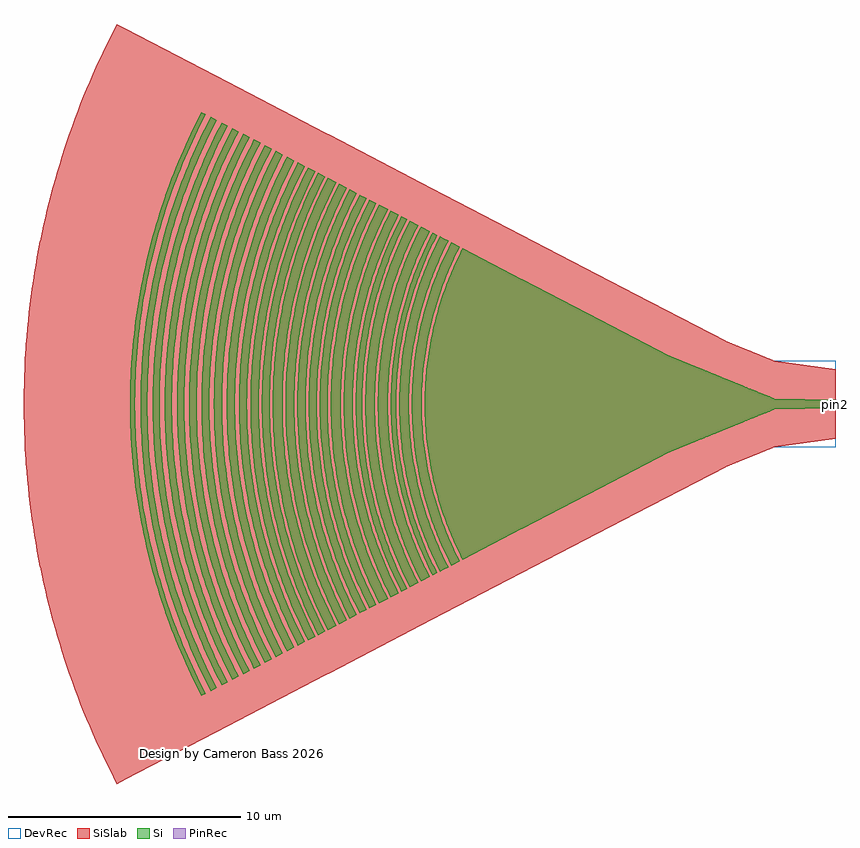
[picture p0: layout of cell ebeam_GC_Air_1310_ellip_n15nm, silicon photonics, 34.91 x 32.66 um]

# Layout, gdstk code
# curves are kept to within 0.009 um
import gdstk
lib = gdstk.Library(unit=1e-6, precision=1e-09)
def P(c, l, *ps):  # polygons
    for p in ps: c.add(gdstk.Polygon(p, *l))
Si = (1, 0)
PinRec = (1, 10)
SiSlab = (2, 0)
DevRec = (68, 0)

ebeam_gc_air_1310_ellip_ = lib.new_cell('ebeam_GC_Air_1310_ellip_n15nm')
P(ebeam_gc_air_1310_ellip_, Si, [(-16.042,-6.696),(-16.453,-5.834),(-16.77,-5.048),(-17.081,-4.11),(-17.263,-3.427),(-17.439,-2.598),(-17.566,-1.761),(-17.644,-0.917),(-17.672,-0.071),(-17.652,0.776),(-17.582,1.621),(-17.463,2.46),(-17.296,3.29),(-17.081,4.11),(-16.77,5.048),(-16.453,5.834),(-16.042,6.696),(-7.144,2.063),(-3.191,0.45),(-2.883,0.336),(-2.697,0.248),(-2.651,0.235),(0,0.175),(0,-0.175),(-2.664,-0.237),(-7.129,-2.056)],
  [(-16.534,-6.951),(-16.899,-6.193),(-17.236,-5.38),(-17.525,-4.548),(-17.764,-3.702),(-17.955,-2.843),(-18.095,-1.974),(-18.194,-0.953),(-18.224,-0.073),(-18.203,0.806),(-18.113,1.829),(-17.982,2.699),(-17.799,3.56),(-17.568,4.409),(-17.236,5.38),(-16.899,6.193),(-16.534,6.952),(-16.157,6.756),(-16.515,6.016),(-16.892,5.093),(-17.164,4.283),(-17.39,3.459),(-17.567,2.623),(-17.695,1.777),(-17.782,0.784),(-17.802,0.071),(-17.782,-0.784),(-17.695,-1.777),(-17.567,-2.622),(-17.39,-3.458),(-17.164,-4.283),(-16.892,-5.093),(-16.515,-6.016),(-16.157,-6.756)],
  [(-17.015,-7.202),(-17.393,-6.417),(-17.742,-5.575),(-18.041,-4.713),(-18.289,-3.836),(-18.486,-2.946),(-18.631,-2.046),(-18.724,-1.139),(-18.751,-0.683),(-18.765,-0.076),(-18.743,0.835),(-18.668,1.744),(-18.611,2.197),(-18.514,2.796),(-18.325,3.689),(-18.172,4.277),(-18.041,4.714),(-17.742,5.575),(-17.393,6.417),(-17.015,7.202),(-16.648,7.012),(-17.078,6.111),(-17.409,5.288),(-17.692,4.446),(-17.927,3.591),(-18.11,2.723),(-18.243,1.845),(-18.324,0.961),(-18.354,0.074),(-18.333,-0.813),(-18.243,-1.845),(-18.11,-2.723),(-17.927,-3.591),(-17.692,-4.446),(-17.409,-5.288),(-17.078,-6.111),(-16.648,-7.012)],
  [(-17.335,-7.369),(-17.722,-6.565),(-18.079,-5.704),(-18.385,-4.822),(-18.639,-3.925),(-18.841,-3.014),(-18.922,-2.555),(-19.009,-1.939),(-19.095,-1.01),(-19.126,-0.078),(-19.104,0.855),(-19.009,1.939),(-18.869,2.861),(-18.676,3.775),(-18.431,4.674),(-18.134,5.558),(-17.966,5.993),(-17.722,6.566),(-17.335,7.369),(-17.13,7.262),(-17.574,6.33),(-17.969,5.334),(-18.118,4.899),(-18.296,4.312),(-18.522,3.421),(-18.694,2.518),(-18.814,1.607),(-18.873,0.843),(-18.895,0.077),(-18.873,-0.843),(-18.814,-1.607),(-18.718,-2.366),(-18.554,-3.271),(-18.416,-3.868),(-18.296,-4.312),(-18.118,-4.899),(-17.969,-5.333),(-17.574,-6.33),(-17.13,-7.262)],
  [(-17.831,-7.627),(-18.296,-6.648),(-18.657,-5.753),(-18.965,-4.838),(-19.218,-3.906),(-19.418,-2.961),(-19.562,-2.007),(-19.651,-1.045),(-19.684,-0.08),(-19.66,0.885),(-19.581,1.847),(-19.446,2.803),(-19.325,3.436),(-19.218,3.906),(-18.965,4.838),(-18.657,5.753),(-18.483,6.203),(-18.231,6.796),(-17.831,7.627),(-17.45,7.429),(-17.643,7.046),(-17.905,6.476),(-18.2,5.75),(-18.509,4.861),(-18.766,3.958),(-18.998,2.885),(-19.138,1.955),(-19.202,1.331),(-19.234,0.862),(-19.256,0.078),(-19.234,-0.862),(-19.202,-1.331),(-19.138,-1.955),(-18.998,-2.885),(-18.803,-3.804),(-18.555,-4.712),(-18.255,-5.603),(-17.905,-6.476),(-17.643,-7.046),(-17.45,-7.429)],
  [(-18.311,-7.877),(-18.586,-7.32),(-18.792,-6.865),(-19.164,-5.941),(-19.483,-4.996),(-19.744,-4.033),(-19.95,-3.058),(-20.1,-2.072),(-20.191,-1.08),(-20.225,-0.083),(-20.201,0.914),(-20.119,1.907),(-19.979,2.894),(-19.783,3.872),(-19.664,4.356),(-19.483,4.996),(-19.164,5.941),(-18.792,6.866),(-18.586,7.32),(-18.311,7.877),(-17.947,7.688),(-18.352,6.849),(-18.544,6.403),(-18.78,5.798),(-19.09,4.876),(-19.347,3.938),(-19.548,2.985),(-19.693,2.023),(-19.783,1.054),(-19.816,0.081),(-19.792,-0.892),(-19.712,-1.862),(-19.628,-2.505),(-19.548,-2.985),(-19.347,-3.937),(-19.09,-4.875),(-18.78,-5.798),(-18.544,-6.402),(-18.352,-6.849),(-17.947,-7.688)],
  [(-18.673,-8.065),(-19.097,-7.184),(-19.488,-6.241),(-19.662,-5.761),(-19.873,-5.115),(-20.141,-4.129),(-20.352,-3.131),(-20.505,-2.121),(-20.599,-1.105),(-20.633,-0.085),(-20.609,0.935),(-20.525,1.953),(-20.382,2.963),(-20.254,3.632),(-20.141,4.129),(-20.015,4.624),(-19.823,5.277),(-19.488,6.241),(-19.097,7.184),(-18.673,8.065),(-18.426,7.938),(-18.705,7.375),(-18.912,6.918),(-19.168,6.299),(-19.344,5.829),(-19.507,5.354),(-19.701,4.713),(-19.832,4.228),(-19.983,3.575),(-20.162,2.586),(-20.267,1.756),(-20.332,0.921),(-20.356,0.084),(-20.332,-0.921),(-20.267,-1.756),(-20.162,-2.586),(-20.017,-3.411),(-19.911,-3.901),(-19.746,-4.551),(-19.558,-5.193),(-19.4,-5.671),(-18.979,-6.764),(-18.705,-7.375),(-18.426,-7.937)],
  [(-19.131,-8.304),(-19.568,-7.397),(-19.843,-6.751),(-20.032,-6.262),(-20.367,-5.266),(-20.643,-4.251),(-20.86,-3.223),(-21.018,-2.184),(-21.114,-1.138),(-21.15,-0.088),(-21.14,0.613),(-21.114,1.138),(-21.018,2.184),(-20.86,3.223),(-20.643,4.252),(-20.367,5.266),(-20.032,6.262),(-19.639,7.237),(-19.422,7.715),(-19.131,8.304),(-18.789,8.126),(-19.218,7.238),(-19.486,6.607),(-19.67,6.127),(-19.998,5.152),(-20.27,4.161),(-20.482,3.155),(-20.636,2.138),(-20.73,1.114),(-20.765,0.086),(-20.74,-0.943),(-20.656,-1.968),(-20.512,-2.986),(-20.418,-3.491),(-20.27,-4.161),(-19.998,-5.152),(-19.67,-6.127),(-19.287,-7.081),(-19.075,-7.549),(-18.789,-8.126)],
  [(-19.63,-8.564),(-20.079,-7.63),(-20.494,-6.629),(-20.849,-5.604),(-21.144,-4.561),(-21.378,-3.503),(-21.551,-2.433),(-21.661,-1.354),(-21.692,-0.813),(-21.71,-0.09),(-21.684,0.993),(-21.594,2.074),(-21.443,3.147),(-21.307,3.857),(-21.187,4.387),(-20.903,5.432),(-20.679,6.119),(-20.494,6.629),(-20.079,7.63),(-19.63,8.564),(-19.247,8.365),(-19.541,7.771),(-19.76,7.289),(-20.093,6.472),(-20.386,5.641),(-20.542,5.135),(-20.729,4.454),(-20.957,3.421),(-21.126,2.376),(-21.187,1.85),(-21.245,1.146),(-21.281,0.088),(-21.276,-0.441),(-21.245,-1.146),(-21.148,-2.2),(-20.99,-3.247),(-20.771,-4.282),(-20.492,-5.303),(-20.33,-5.808),(-20.093,-6.472),(-19.76,-7.289),(-19.465,-7.93),(-19.247,-8.365)],
  [(-20.045,-8.78),(-20.352,-8.157),(-20.582,-7.65),(-20.997,-6.62),(-21.351,-5.567),(-21.643,-4.495),(-21.873,-3.408),(-22.039,-2.309),(-22.141,-1.203),(-22.179,-0.093),(-22.152,1.018),(-22.061,2.125),(-21.991,2.677),(-21.873,3.408),(-21.643,4.496),(-21.351,5.567),(-20.997,6.62),(-20.582,7.651),(-20.352,8.157),(-20.045,8.78),(-19.749,8.626),(-20.051,8.014),(-20.277,7.518),(-20.488,7.015),(-20.746,6.334),(-20.978,5.644),(-21.134,5.121),(-21.276,4.594),(-21.44,3.885),(-21.606,2.99),(-21.729,2.089),(-21.819,1.001),(-21.845,0.091),(-21.835,-0.637),(-21.766,-1.726),(-21.661,-2.63),(-21.477,-3.706),(-21.361,-4.239),(-21.183,-4.946),(-20.978,-5.643),(-20.746,-6.334),(-20.488,-7.014),(-20.277,-7.517),(-19.973,-8.179),(-19.749,-8.626)],
  [(-20.465,-8.999),(-20.94,-8.013),(-21.376,-6.961),(-21.749,-5.885),(-21.913,-5.34),(-22.059,-4.79),(-22.19,-4.236),(-22.34,-3.492),(-22.51,-2.366),(-22.615,-1.233),(-22.654,-0.095),(-22.626,1.043),(-22.532,2.178),(-22.373,3.305),(-22.269,3.865),(-22.104,4.607),(-21.805,5.705),(-21.632,6.246),(-21.376,6.961),(-20.94,8.013),(-20.465,8.999),(-20.161,8.841),(-20.472,8.212),(-20.777,7.532),(-20.988,7.014),(-21.246,6.314),(-21.476,5.605),(-21.681,4.888),(-21.933,3.798),(-22.094,2.879),(-22.211,1.955),(-22.283,1.025),(-22.31,0.093),(-22.292,-0.839),(-22.211,-1.955),(-22.094,-2.879),(-21.933,-3.798),(-21.681,-4.888),(-21.476,-5.605),(-21.246,-6.314),(-21.055,-6.839),(-20.777,-7.532),(-20.472,-8.212),(-20.161,-8.841)],
  [(-20.9,-9.225),(-21.388,-8.211),(-21.834,-7.134),(-22.217,-6.031),(-22.385,-5.473),(-22.535,-4.909),(-22.669,-4.341),(-22.823,-3.578),(-22.998,-2.425),(-23.105,-1.263),(-23.144,-0.097),(-23.139,0.487),(-23.105,1.263),(-22.998,2.425),(-22.823,3.579),(-22.581,4.721),(-22.437,5.285),(-22.275,5.846),(-21.903,6.952),(-21.467,8.034),(-21.225,8.565),(-20.9,9.225),(-20.585,9.061),(-20.906,8.413),(-21.218,7.716),(-21.503,7.007),(-21.699,6.469),(-21.879,5.925),(-22.094,5.192),(-22.238,4.637),(-22.403,3.891),(-22.568,2.95),(-22.688,2.003),(-22.762,1.051),(-22.79,0.096),(-22.771,-0.86),(-22.707,-1.812),(-22.596,-2.761),(-22.403,-3.891),(-22.238,-4.637),(-22.094,-5.192),(-21.879,-5.925),(-21.699,-6.469),(-21.503,-7.007),(-21.218,-7.716),(-20.906,-8.413),(-20.585,-9.061)],
  [(-21.351,-9.46),(-21.685,-8.784),(-21.932,-8.238),(-22.379,-7.129),(-22.761,-5.995),(-22.927,-5.42),(-23.075,-4.84),(-23.323,-3.67),(-23.502,-2.487),(-23.612,-1.295),(-23.652,-0.1),(-23.647,0.499),(-23.612,1.296),(-23.502,2.487),(-23.323,3.67),(-23.075,4.841),(-22.927,5.42),(-22.761,5.995),(-22.379,7.129),(-22.164,7.687),(-21.932,8.239),(-21.685,8.784),(-21.351,9.46),(-21.015,9.285),(-21.26,8.798),(-21.587,8.086),(-21.814,7.545),(-22.092,6.813),(-22.282,6.258),(-22.51,5.508),(-22.709,4.751),(-22.879,3.987),(-23.048,3.023),(-23.171,2.052),(-23.247,1.076),(-23.275,0.098),(-23.256,-0.881),(-23.19,-1.857),(-23.077,-2.829),(-22.879,-3.986),(-22.709,-4.75),(-22.51,-5.508),(-22.342,-6.07),(-22.092,-6.813),(-21.814,-7.545),(-21.587,-8.086),(-21.344,-8.62),(-21.015,-9.285)],
  [(-21.839,-9.713),(-22.18,-9.021),(-22.434,-8.461),(-22.672,-7.894),(-22.893,-7.321),(-23.098,-6.742),(-23.285,-6.157),(-23.456,-5.566),(-23.608,-4.971),(-23.744,-4.372),(-23.862,-3.769),(-23.963,-3.163),(-24.046,-2.554),(-24.159,-1.33),(-24.189,-0.716),(-24.2,-0.102),(-24.171,1.126),(-24.07,2.351),(-23.963,3.163),(-23.862,3.769),(-23.744,4.372),(-23.608,4.972),(-23.456,5.567),(-23.285,6.157),(-23.098,6.742),(-22.893,7.322),(-22.434,8.461),(-22.18,9.021),(-21.839,9.714),(-21.466,9.52),(-21.804,8.839),(-22.052,8.291),(-22.502,7.174),(-22.702,6.607),(-22.885,6.033),(-23.203,4.872),(-23.452,3.694),(-23.632,2.503),(-23.696,1.904),(-23.742,1.304),(-23.783,0.1),(-23.764,-0.903),(-23.696,-1.904),(-23.632,-2.503),(-23.55,-3.099),(-23.376,-4.088),(-23.105,-5.261),(-22.885,-6.033),(-22.637,-6.796),(-22.359,-7.549),(-22.132,-8.107),(-21.804,-8.839),(-21.466,-9.52)],
  [(-22.253,-9.929),(-22.777,-8.839),(-23.026,-8.262),(-23.258,-7.679),(-23.472,-7.089),(-23.732,-6.293),(-23.906,-5.689),(-24.062,-5.081),(-24.321,-3.852),(-24.424,-3.233),(-24.509,-2.61),(-24.576,-1.986),(-24.625,-1.36),(-24.667,-0.105),(-24.661,0.524),(-24.637,1.151),(-24.534,2.402),(-24.455,3.026),(-24.358,3.646),(-24.243,4.264),(-24.062,5.081),(-23.906,5.689),(-23.732,6.293),(-23.54,6.891),(-23.258,7.679),(-23.026,8.263),(-22.777,8.84),(-22.253,9.929),(-21.954,9.774),(-22.299,9.076),(-22.554,8.514),(-22.793,7.944),(-23.086,7.173),(-23.286,6.589),(-23.525,5.8),(-23.686,5.203),(-23.872,4.399),(-23.991,3.793),(-24.092,3.182),(-24.221,2.161),(-24.301,1.133),(-24.331,0.103),(-24.301,-1.133),(-24.221,-2.16),(-24.092,-3.182),(-23.991,-3.793),(-23.872,-4.399),(-23.686,-5.203),(-23.525,-5.799),(-23.286,-6.588),(-23.086,-7.173),(-22.793,-7.944),(-22.554,-8.513),(-22.299,-9.076),(-21.954,-9.774)],
  [(-22.687,-10.155),(-23.225,-9.038),(-23.48,-8.448),(-23.717,-7.852),(-23.936,-7.248),(-24.201,-6.435),(-24.38,-5.817),(-24.539,-5.195),(-24.681,-4.569),(-24.804,-3.939),(-24.91,-3.306),(-24.997,-2.669),(-25.065,-2.031),(-25.115,-1.39),(-25.146,-0.749),(-25.158,-0.107),(-25.152,0.536),(-25.127,1.177),(-25.084,1.818),(-25.022,2.456),(-24.941,3.094),(-24.842,3.728),(-24.681,4.569),(-24.539,5.195),(-24.38,5.817),(-24.201,6.435),(-23.792,7.652),(-23.561,8.25),(-23.312,8.843),(-23.046,9.428),(-22.687,10.155),(-22.371,9.991),(-22.725,9.276),(-22.986,8.701),(-23.23,8.119),(-23.529,7.331),(-23.798,6.533),(-23.978,5.927),(-24.143,5.317),(-24.333,4.496),(-24.525,3.461),(-24.668,2.418),(-24.759,1.368),(-24.79,0.738),(-24.802,0.105),(-24.782,-0.948),(-24.745,-1.578),(-24.69,-2.207),(-24.558,-3.252),(-24.333,-4.496),(-24.143,-5.317),(-23.978,-5.927),(-23.798,-6.533),(-23.529,-7.331),(-23.23,-8.119),(-22.986,-8.701),(-22.725,-9.276),(-22.371,-9.991)],
  [(-23.119,-10.38),(-23.396,-9.827),(-23.672,-9.233),(-23.932,-8.63),(-24.175,-8.021),(-24.399,-7.404),(-24.606,-6.781),(-24.794,-6.153),(-24.963,-5.519),(-25.114,-4.882),(-25.247,-4.239),(-25.361,-3.593),(-25.456,-2.944),(-25.532,-2.292),(-25.604,-1.42),(-25.636,-0.765),(-25.648,-0.109),(-25.642,0.547),(-25.617,1.202),(-25.572,1.857),(-25.509,2.509),(-25.426,3.161),(-25.325,3.809),(-25.205,4.454),(-25.015,5.308),(-24.852,5.943),(-24.67,6.573),(-24.47,7.198),(-24.252,7.817),(-24.015,8.428),(-23.761,9.033),(-23.49,9.63),(-23.119,10.38),(-22.819,10.225),(-23.183,9.488),(-23.536,8.703),(-23.78,8.104),(-24.006,7.499),(-24.281,6.683),(-24.466,6.063),(-24.686,5.23),(-24.829,4.599),(-25.026,3.54),(-25.119,2.901),(-25.194,2.259),(-25.277,1.185),(-25.309,0.108),(-25.288,-0.97),(-25.194,-2.258),(-25.119,-2.9),(-25.026,-3.54),(-24.829,-4.599),(-24.686,-5.23),(-24.466,-6.063),(-24.281,-6.683),(-24.006,-7.499),(-23.78,-8.104),(-23.45,-8.9),(-23.183,-9.488),(-22.819,-10.224)],
  [(-23.588,-10.625),(-23.875,-10.052),(-24.158,-9.445),(-24.424,-8.828),(-24.672,-8.205),(-24.902,-7.574),(-25.113,-6.937),(-25.306,-6.294),(-25.479,-5.646),(-25.634,-4.993),(-25.769,-4.336),(-25.921,-3.454),(-26.012,-2.789),(-26.083,-2.122),(-26.135,-1.453),(-26.168,-0.782),(-26.181,-0.112),(-26.174,0.56),(-26.148,1.23),(-26.103,1.9),(-26.038,2.567),(-25.953,3.233),(-25.849,3.897),(-25.681,4.775),(-25.532,5.43),(-25.366,6.079),(-25.179,6.724),(-24.974,7.363),(-24.751,7.996),(-24.509,8.621),(-24.249,9.24),(-23.971,9.852),(-23.588,10.625),(-23.277,10.463),(-23.558,9.904),(-23.926,9.103),(-24.182,8.494),(-24.495,7.67),(-24.709,7.045),(-24.966,6.201),(-25.138,5.563),(-25.337,4.704),(-25.539,3.62),(-25.688,2.529),(-25.751,1.871),(-25.796,1.212),(-25.828,0.11),(-25.807,-0.992),(-25.769,-1.651),(-25.711,-2.309),(-25.573,-3.403),(-25.464,-4.055),(-25.337,-4.704),(-25.138,-5.563),(-24.966,-6.201),(-24.709,-7.044),(-24.495,-7.669),(-24.182,-8.494),(-23.926,-9.103),(-23.558,-9.904),(-23.277,-10.463)],
  [(-24.071,-10.876),(-24.367,-10.285),(-24.657,-9.662),(-24.93,-9.031),(-25.184,-8.394),(-25.419,-7.749),(-25.703,-6.879),(-25.894,-6.219),(-26.064,-5.554),(-26.216,-4.885),(-26.349,-4.211),(-26.462,-3.534),(-26.555,-2.853),(-26.628,-2.171),(-26.681,-1.486),(-26.715,-0.8),(-26.728,-0.114),(-26.721,0.573),(-26.695,1.258),(-26.648,1.943),(-26.555,2.854),(-26.462,3.534),(-26.349,4.211),(-26.216,4.885),(-26.064,5.555),(-25.894,6.219),(-25.703,6.879),(-25.419,7.749),(-25.184,8.394),(-24.93,9.032),(-24.657,9.662),(-24.367,10.285),(-24.071,10.876),(-23.765,10.717),(-24.342,9.524),(-24.695,8.695),(-24.939,8.063),(-25.235,7.211),(-25.436,6.564),(-25.618,5.913),(-25.831,5.035),(-26.048,3.929),(-26.152,3.26),(-26.238,2.589),(-26.336,1.465),(-26.369,0.789),(-26.382,0.113),(-26.36,-1.015),(-26.32,-1.69),(-26.262,-2.364),(-26.12,-3.483),(-26.009,-4.151),(-25.878,-4.815),(-25.729,-5.475),(-25.498,-6.347),(-25.235,-7.211),(-25.016,-7.851),(-24.779,-8.484),(-24.433,-9.318),(-24.056,-10.138),(-23.765,-10.717)],
  [(-24.541,-11.121),(-24.846,-10.513),(-25.143,-9.876),(-25.422,-9.231),(-25.681,-8.58),(-25.922,-7.92),(-26.143,-7.254),(-26.407,-6.357),(-26.582,-5.677),(-26.737,-4.993),(-26.873,-4.304),(-26.988,-3.612),(-27.083,-2.917),(-27.158,-2.219),(-27.213,-1.519),(-27.247,-0.818),(-27.26,-0.117),(-27.247,0.818),(-27.213,1.52),(-27.158,2.22),(-27.083,2.917),(-26.988,3.612),(-26.873,4.304),(-26.737,4.993),(-26.582,5.677),(-26.407,6.357),(-26.143,7.254),(-25.922,7.92),(-25.681,8.58),(-25.422,9.232),(-25.143,9.876),(-24.846,10.513),(-24.541,11.121),(-24.246,10.968),(-24.647,10.161),(-24.934,9.531),(-25.287,8.679),(-25.53,8.03),(-25.825,7.156),(-26.023,6.493),(-26.204,5.824),(-26.412,4.925),(-26.624,3.791),(-26.78,2.648),(-26.881,1.499),(-26.914,0.808),(-26.927,0.115),(-26.921,-0.576),(-26.894,-1.269),(-26.804,-2.418),(-26.724,-3.106),(-26.624,-3.791),(-26.412,-4.925),(-26.204,-5.824),(-26.023,-6.492),(-25.825,-7.156),(-25.53,-8.03),(-25.202,-8.893),(-24.934,-9.531),(-24.647,-10.161),(-24.246,-10.968)],
  [(-25.014,-11.367),(-25.327,-10.743),(-25.631,-10.093),(-25.915,-9.434),(-26.181,-8.768),(-26.426,-8.094),(-26.652,-7.413),(-26.859,-6.726),(-27.044,-6.033),(-27.209,-5.336),(-27.355,-4.633),(-27.479,-3.928),(-27.584,-3.218),(-27.667,-2.505),(-27.73,-1.791),(-27.781,-0.836),(-27.795,-0.12),(-27.788,0.598),(-27.76,1.314),(-27.711,2.03),(-27.642,2.743),(-27.551,3.455),(-27.399,4.398),(-27.26,5.103),(-27.101,5.802),(-26.923,6.496),(-26.723,7.186),(-26.504,7.868),(-26.181,8.768),(-25.915,9.434),(-25.631,10.093),(-25.327,10.743),(-25.014,11.367),(-24.726,11.218),(-25.138,10.389),(-25.431,9.745),(-25.705,9.093),(-26.041,8.211),(-26.27,7.542),(-26.48,6.865),(-26.73,5.955),(-26.893,5.266),(-27.121,4.11),(-27.23,3.41),(-27.319,2.708),(-27.388,2.003),(-27.436,1.297),(-27.47,0.118),(-27.463,-0.589),(-27.436,-1.297),(-27.344,-2.472),(-27.196,-3.643),(-27.08,-4.342),(-26.943,-5.036),(-26.73,-5.955),(-26.545,-6.638),(-26.27,-7.542),(-26.041,-8.211),(-25.705,-9.093),(-25.431,-9.745),(-25.036,-10.602),(-24.726,-11.217)],
  [(-25.476,-11.607),(-25.796,-10.969),(-26.106,-10.305),(-26.396,-9.632),(-26.667,-8.952),(-26.918,-8.264),(-27.149,-7.569),(-27.36,-6.868),(-27.549,-6.16),(-27.77,-5.21),(-27.911,-4.491),(-28.032,-3.769),(-28.131,-3.043),(-28.209,-2.316),(-28.266,-1.585),(-28.301,-0.854),(-28.316,-0.122),(-28.301,0.855),(-28.266,1.585),(-28.209,2.316),(-28.131,3.043),(-28.032,3.769),(-27.911,4.491),(-27.77,5.21),(-27.607,5.923),(-27.425,6.633),(-27.222,7.336),(-26.998,8.033),(-26.753,8.724),(-26.489,9.406),(-26.205,10.082),(-25.796,10.969),(-25.476,11.607),(-25.2,11.464),(-25.622,10.616),(-25.921,9.958),(-26.291,9.067),(-26.545,8.39),(-26.853,7.477),(-27.06,6.784),(-27.249,6.085),(-27.416,5.381),(-27.562,4.673),(-27.688,3.961),(-27.851,2.767),(-27.921,2.047),(-27.97,1.326),(-28.005,0.121),(-27.982,-1.085),(-27.94,-1.806),(-27.877,-2.527),(-27.793,-3.245),(-27.688,-3.96),(-27.467,-5.145),(-27.249,-6.085),(-27.06,-6.783),(-26.853,-7.477),(-26.545,-8.39),(-26.291,-9.067),(-25.921,-9.958),(-25.622,-10.616),(-25.2,-11.464)],
  [(-25.941,-11.849),(-26.269,-11.196),(-26.585,-10.519),(-26.881,-9.833),(-27.158,-9.139),(-27.414,-8.436),(-27.65,-7.726),(-27.865,-7.011),(-28.058,-6.288),(-28.283,-5.318),(-28.428,-4.584),(-28.55,-3.847),(-28.652,-3.106),(-28.732,-2.363),(-28.79,-1.618),(-28.826,-0.871),(-28.84,-0.125),(-28.826,0.871),(-28.79,1.618),(-28.732,2.363),(-28.652,3.107),(-28.55,3.848),(-28.428,4.584),(-28.283,5.318),(-28.117,6.047),(-27.932,6.771),(-27.724,7.489),(-27.495,8.2),(-27.246,8.905),(-26.976,9.602),(-26.585,10.519),(-26.268,11.197),(-25.941,11.85),(-25.67,11.709),(-26.101,10.842),(-26.407,10.17),(-26.693,9.489),(-26.96,8.8),(-27.206,8.104),(-27.502,7.164),(-27.763,6.215),(-27.933,5.495),(-28.171,4.288),(-28.285,3.558),(-28.378,2.826),(-28.45,2.09),(-28.5,1.354),(-28.536,0.123),(-28.528,-0.615),(-28.5,-1.354),(-28.404,-2.58),(-28.249,-3.801),(-28.128,-4.53),(-27.986,-5.255),(-27.763,-6.214),(-27.571,-6.927),(-27.283,-7.87),(-27.044,-8.568),(-26.693,-9.489),(-26.407,-10.169),(-26.101,-10.841),(-25.67,-11.709)],
  [(-26.4,-12.088),(-26.735,-11.421),(-27.057,-10.731),(-27.359,-10.03),(-27.641,-9.322),(-27.903,-8.605),(-28.143,-7.881),(-28.362,-7.151),(-28.559,-6.415),(-28.735,-5.673),(-28.89,-4.926),(-29.023,-4.176),(-29.133,-3.421),(-29.222,-2.663),(-29.289,-1.904),(-29.343,-0.889),(-29.358,-0.127),(-29.35,0.636),(-29.321,1.397),(-29.269,2.158),(-29.195,2.917),(-29.099,3.673),(-28.937,4.676),(-28.789,5.425),(-28.62,6.169),(-28.431,6.907),(-28.219,7.64),(-27.985,8.365),(-27.731,9.084),(-27.456,9.795),(-27.057,10.731),(-26.734,11.422),(-26.4,12.088),(-26.139,11.953),(-26.58,11.067),(-26.892,10.381),(-27.277,9.453),(-27.542,8.747),(-27.786,8.034),(-28.08,7.072),(-28.276,6.344),(-28.45,5.61),(-28.603,4.872),(-28.734,4.129),(-28.904,2.885),(-29.014,1.633),(-29.05,0.88),(-29.065,0.126),(-29.057,-0.628),(-29.028,-1.382),(-28.931,-2.635),(-28.843,-3.383),(-28.734,-4.129),(-28.603,-4.872),(-28.45,-5.61),(-28.276,-6.344),(-28.01,-7.313),(-27.786,-8.033),(-27.542,-8.746),(-27.184,-9.686),(-26.892,-10.381),(-26.58,-11.067),(-26.139,-11.953)],
  [(-26.87,-12.333),(-27.316,-11.432),(-27.638,-10.724),(-27.94,-10.005),(-28.221,-9.279),(-28.48,-8.545),(-28.718,-7.804),(-28.934,-7.055),(-29.128,-6.3),(-29.3,-5.541),(-29.45,-4.777),(-29.578,-4.009),(-29.684,-3.237),(-29.766,-2.463),(-29.827,-1.686),(-29.865,-0.908),(-29.88,-0.13),(-29.865,0.908),(-29.827,1.686),(-29.766,2.463),(-29.684,3.237),(-29.578,4.009),(-29.45,4.777),(-29.3,5.542),(-29.128,6.3),(-28.934,7.055),(-28.718,7.804),(-28.48,8.545),(-28.221,9.28),(-27.94,10.005),(-27.638,10.724),(-27.316,11.432),(-26.87,12.334),(-26.606,12.197),(-27.056,11.292),(-27.375,10.592),(-27.768,9.644),(-28.038,8.924),(-28.287,8.197),(-28.515,7.461),(-28.723,6.721),(-28.964,5.724),(-29.212,4.466),(-29.331,3.706),(-29.428,2.943),(-29.502,2.177),(-29.554,1.41),(-29.592,0.128),(-29.567,-1.154),(-29.522,-1.921),(-29.455,-2.687),(-29.294,-3.959),(-29.167,-4.719),(-29.019,-5.473),(-28.787,-6.472),(-28.586,-7.215),(-28.366,-7.953),(-28.038,-8.924),(-27.768,-9.644),(-27.375,-10.592),(-27.056,-11.292),(-26.606,-12.196)],
  [(-27.268,-12.541),(-27.616,-11.846),(-27.95,-11.13),(-28.263,-10.404),(-28.555,-9.669),(-28.812,-8.967),(-29.075,-8.175),(-29.302,-7.418),(-29.506,-6.654),(-29.799,-5.369),(-29.943,-4.591),(-30.101,-3.549),(-30.218,-2.501),(-30.274,-1.793),(-30.318,-0.922),(-30.333,-0.132),(-30.325,0.659),(-30.295,1.449),(-30.241,2.239),(-30.134,3.287),(-30.027,4.071),(-29.897,4.851),(-29.799,5.369),(-29.569,6.399),(-29.373,7.164),(-29.153,7.924),(-28.912,8.677),(-28.648,9.423),(-28.363,10.16),(-27.95,11.131),(-27.615,11.848),(-27.268,12.541),(-27.085,12.446),(-27.422,11.773),(-27.755,11.061),(-28.165,10.097),(-28.448,9.363),(-28.71,8.623),(-28.95,7.874),(-29.237,6.866),(-29.425,6.103),(-29.69,4.821),(-29.819,4.045),(-29.925,3.267),(-30.009,2.485),(-30.07,1.702),(-30.108,0.916),(-30.123,0.131),(-30.115,-0.654),(-30.085,-1.44),(-30.032,-2.224),(-29.955,-3.007),(-29.778,-4.304),(-29.642,-5.078),(-29.483,-5.847),(-29.302,-6.613),(-29.098,-7.371),(-28.792,-8.374),(-28.538,-9.117),(-28.262,-9.853),(-27.861,-10.821),(-27.536,-11.536),(-27.085,-12.446)])
P(ebeam_gc_air_1310_ellip_, SiSlab, [(-30.904,-16.329),(-31.366,-15.41),(-31.801,-14.477),(-32.208,-13.533),(-32.588,-12.577),(-32.94,-11.61),(-33.264,-10.634),(-33.559,-9.648),(-33.825,-8.655),(-34.062,-7.654),(-34.27,-6.647),(-34.449,-5.634),(-34.598,-4.616),(-34.717,-3.594),(-34.807,-2.569),(-34.867,-1.543),(-34.9,-0.171),(-34.89,0.857),(-34.85,1.885),(-34.781,2.912),(-34.681,3.935),(-34.552,4.956),(-34.393,5.972),(-34.135,7.319),(-33.907,8.322),(-33.651,9.318),(-33.365,10.307),(-33.051,11.286),(-32.709,12.256),(-32.338,13.216),(-31.94,14.164),(-31.366,15.41),(-30.904,16.329),(-4.744,2.708),(-2.65,1.855),(0,1.5),(0,-1.5),(-2.65,-1.855),(-4.728,-2.7)])
P(ebeam_gc_air_1310_ellip_, DevRec, [(-30.904,-16.329),(-31.366,-15.41),(-31.801,-14.477),(-32.208,-13.533),(-32.588,-12.577),(-32.94,-11.61),(-33.264,-10.634),(-33.559,-9.648),(-33.825,-8.655),(-34.062,-7.654),(-34.27,-6.647),(-34.449,-5.634),(-34.598,-4.616),(-34.717,-3.594),(-34.807,-2.569),(-34.867,-1.543),(-34.9,-0.171),(-34.89,0.857),(-34.85,1.885),(-34.781,2.912),(-34.681,3.935),(-34.552,4.956),(-34.393,5.972),(-34.135,7.319),(-33.907,8.322),(-33.651,9.318),(-33.365,10.307),(-33.051,11.286),(-32.709,12.256),(-32.338,13.216),(-31.94,14.164),(-31.366,15.41),(-30.904,16.329),(-4.744,2.708),(-2.65,1.855),(0,1.855),(0,-1.855),(-2.65,-1.855),(-4.728,-2.7)])
ebeam_gc_air_1310_ellip_.add(gdstk.FlexPath([(-0.01,0),(0.01,0)], 0.35, ends="flush", simple_path=True, layer=1, datatype=10))  # PinRec
ebeam_gc_air_1310_ellip_.add(gdstk.Label('pin2', (0,0), layer=1, texttype=10))
ebeam_gc_air_1310_ellip_.add(gdstk.Label('Design by Cameron Bass 2026', (-25.94,-15.02), layer=10, texttype=0))

lib.write_gds('ebeam_GC_Air_1310_ellip_n15nm.gds')
